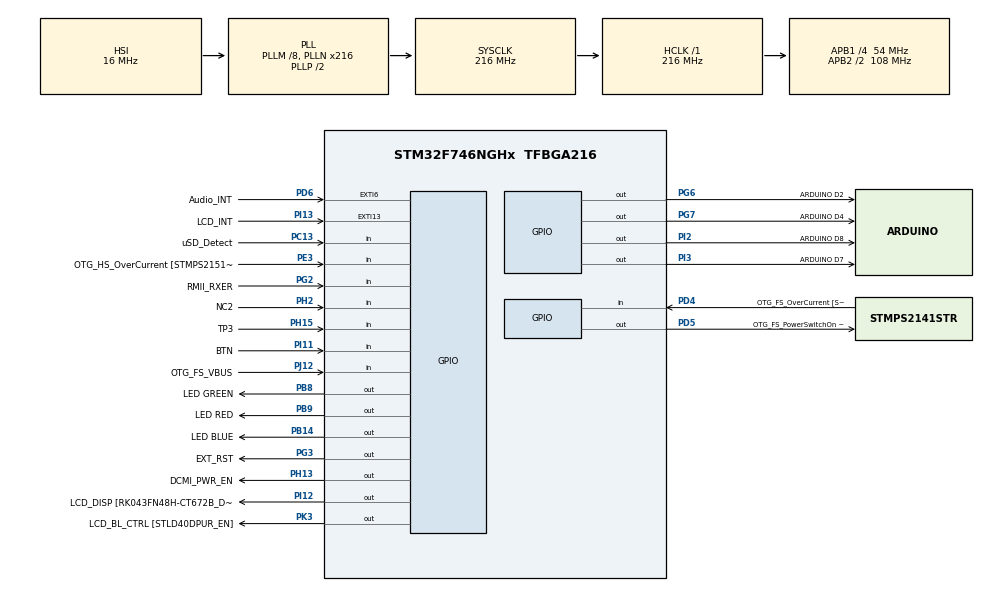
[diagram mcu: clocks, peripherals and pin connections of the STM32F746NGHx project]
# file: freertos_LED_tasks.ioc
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Mcu.Family=STM32F7
Mcu.Name=STM32F746NGHx
Mcu.Package=TFBGA216
NVIC.PriorityGroup=NVIC_PRIORITYGROUP_4
NVIC.TIM6_DAC_IRQn=true\:15\:0\:false\:false\:true\:false\:true\:true
NVIC.TimeBase=TIM6_DAC_IRQn
NVIC.TimeBaseIP=TIM6
PA0/WKUP.GPIO_Label=ARDUINO A0
PA0/WKUP.GPIO_Mode=GPIO_MODE_ANALOG
PA0/WKUP.GPIO_PuPd=GPIO_NOPULL
PA0/WKUP.Signal=ADCx_IN0
PA1.GPIO_Label=RMII_REF_CLK [LAN8742A-CZ-TR_REFCLK0]
PA1.Signal=ETH_REF_CLK
PA10.GPIO_Label=OTG_FS_ID
PA10.Signal=USB_OTG_FS_ID
PA11.GPIO_Label=OTG_FS_N
PA11.Signal=USB_OTG_FS_DM
PA12.GPIO_Label=OTG_FS_P
PA12.Signal=USB_OTG_FS_DP
PA13.GPIO_Label=SWDIO
PA13.Signal=SYS_JTMS-SWDIO
PA14.GPIO_Label=SWCLK
PA14.Signal=SYS_JTCK-SWCLK
PA15.GPIO_Label=ARDUINO PWM/D9
PA15.GPIO_ModeDefaultPP=GPIO_MODE_AF_PP
PA15.GPIO_PuPd=GPIO_NOPULL
PA15.GPIO_Speed=GPIO_SPEED_FREQ_LOW
PA15.Signal=S_TIM2_CH1_ETR
PA2.GPIO_Label=RMII_MDIO [LAN8742A-CZ-TR_MDIO]
PA2.Signal=ETH_MDIO
PA3.GPIO_Label=ULPI_D0 [USB3320C-EZK_D0]
PA3.Signal=USB_OTG_HS_ULPI_D0
PA4.GPIO_Label=DCMI_HSYNC
PA4.Signal=DCMI_HSYNC
PA5.GPIO_Label=ULPI_CLK [USB3320C-EZK_CLKOUT]
PA5.Signal=USB_OTG_HS_ULPI_CK
PA6.Signal=DCMI_PIXCLK
PA7.GPIO_Label=RMII_CRS_DV [LAN8742A-CZ-TR_CRS_DV]
PA7.Signal=ETH_CRS_DV
PA8.GPIO_Label=ARDUINO PWM/D10
PA8.GPIO_ModeDefaultPP=GPIO_MODE_AF_PP
PA8.GPIO_PuPd=GPIO_NOPULL
PA8.GPIO_Speed=GPIO_SPEED_FREQ_LOW
PA8.Signal=S_TIM1_CH1
PA9.GPIO_Label=VCP_TX [STM32F103CBT6_PA3]
PA9.GPIO_Mode=GPIO_MODE_AF_PP
PA9.GPIO_PuPd=GPIO_NOPULL
PA9.GPIO_Speed=GPIO_SPEED_FREQ_LOW
PA9.Signal=USART1_TX
PB0.GPIO_Label=ULPI_D1 [USB3320C-EZK_D1]
PB0.Signal=USB_OTG_HS_ULPI_D1
PB1.GPIO_Label=ULPI_D2 [USB3320C-EZK_D2]
PB1.Signal=USB_OTG_HS_ULPI_D2
PB10.GPIO_Label=ULPI_D3 [USB3320C-EZK_D3]
PB10.Signal=USB_OTG_HS_ULPI_D3
PB11.GPIO_Label=ULPI_D4 [USB3320C-EZK_D4]
PB11.Signal=USB_OTG_HS_ULPI_D4
PB12.GPIO_Label=ULPI_D5 [USB3320C-EZK_D5]
PB12.Signal=USB_OTG_HS_ULPI_D5
PB13.GPIO_Label=ULPI_D6 [USB3320C-EZK_D6]
PB13.Signal=USB_OTG_HS_ULPI_D6
PB14.GPIO_Label=LED BLUE
PB14.Signal=GPIO_Output
PB15.GPIO_Label=ARDUINO MOSI/PWM/D11
PB15.GPIO_Mode=GPIO_MODE_AF_PP
PB15.GPIO_PuPd=GPIO_NOPULL
PB15.GPIO_Speed=GPIO_SPEED_FREQ_LOW
PB15.Signal=SPI2_MOSI
PB2.Signal=QUADSPI_CLK
PB3.GPIO_Label=SWO
PB3.Signal=SYS_JTDO-SWO
PB4.GPIO_Label=ARDUINO PWM/D3
PB4.GPIO_ModeDefaultPP=GPIO_MODE_AF_PP
PB4.GPIO_PuPd=GPIO_NOPULL
PB4.GPIO_Speed=GPIO_SPEED_FREQ_LOW
PB4.Signal=S_TIM3_CH1
PB5.GPIO_Label=ULPI_D7 [USB3320C-EZK_D7]
PB5.Signal=USB_OTG_HS_ULPI_D7
PB6.GPIO_Label=QSPI_NCS [N25Q128A13EF840E_S]
PB6.Signal=QUADSPI_BK1_NCS
PB7.GPIO_Label=VCP_RX [STM32F103CBT6_PA2]
PB7.GPIO_Mode=GPIO_MODE_AF_PP
PB7.GPIO_PuPd=GPIO_NOPULL
PB7.GPIO_Speed=GPIO_SPEED_FREQ_LOW
PB7.Signal=USART1_RX
PB8.GPIO_Label=LED GREEN
PB8.Signal=GPIO_Output
PB9.GPIO_Label=LED RED
PB9.Signal=GPIO_Output
PC0.GPIO_Label=ULPI_STP [USB3320C-EZK_STP]
PC0.Signal=USB_OTG_HS_ULPI_STP
PC1.GPIO_Label=RMII_MDC [LAN8742A-CZ-TR_MDC]
PC1.Signal=ETH_MDC
PC10.GPIO_Label=SDMMC_D2
PC10.Signal=SDMMC1_D2
PC11.GPIO_Label=SDMMC_D3
PC11.Signal=SDMMC1_D3
PC12.GPIO_Label=SDMMC_CK
PC12.Signal=SDMMC1_CK
PC13.GPIO_Label=uSD_Detect
PC13.Signal=GPIO_Input
PC14/OSC32_IN.GPIO_Label=RCC_OSC32_IN
PC14/OSC32_IN.Signal=RCC_OSC32_IN
PC15/OSC32_OUT.GPIO_Label=RCC_OSC32_OUT
PC15/OSC32_OUT.Signal=RCC_OSC32_OUT
PC2.GPIO_Label=ULPI_DIR [USB3320C-EZK_DIR]
PC2.Signal=USB_OTG_HS_ULPI_DIR
PC3.GPIO_Label=FMC_SDCKE0 [MT48LC4M32B2B5-6A_CKE]
PC3.Signal=FMC_SDCKE0
PC4.GPIO_Label=RMII_RXD0 [LAN8742A-CZ-TR_RXD0]
PC4.Signal=ETH_RXD0
PC5.GPIO_Label=RMII_RXD1 [LAN8742A-CZ-TR_RXD1]
PC5.Signal=ETH_RXD1
PC6.GPIO_Label=ARDUINO TX/D1
PC6.Signal=USART6_TX
PC7.GPIO_Label=ARDUINO RX/D0
PC7.Signal=USART6_RX
PC8.Signal=SDMMC1_D0
PC9.Signal=SDMMC1_D1
PD0.GPIO_Label=FMC_D2 [MT48LC4M32B2B5-6A_DQ2]
PD0.Signal=FMC_D2_DA2
PD1.GPIO_Label=FMC_D3 [MT48LC4M32B2B5-6A_DQ3]
PD1.Signal=FMC_D3_DA3
PD10.GPIO_Label=FMC_D15 [MT48LC4M32B2B5-6A_DQ15]
PD10.Signal=FMC_D15_DA15
PD11.GPIO_Label=QSPI_D0 [N25Q128A13EF840E_DQ0]
PD11.Signal=QUADSPI_BK1_IO0
PD12.GPIO_Label=QSPI_D1 [N25Q128A13EF840E_DQ1]
PD12.Signal=QUADSPI_BK1_IO1
PD13.GPIO_Label=QSPI_D3 [N25Q128A13EF840E_DQ3]
PD13.Signal=QUADSPI_BK1_IO3
PD14.GPIO_Label=FMC_D0 [MT48LC4M32B2B5-6A_DQ0]
PD14.Signal=FMC_D0_DA0
PD15.GPIO_Label=FMC_D1 [MT48LC4M32B2B5-6A_DQ1]
PD15.Signal=FMC_D1_DA1
PD2.GPIO_Label=SDMMC_D0
PD2.Signal=SDMMC1_CMD
PD3.GPIO_Label=DCMI_D5
PD3.Signal=DCMI_D5
PD4.GPIO_Label=OTG_FS_OverCurrent [STMPS2141STR_Fault]
PD4.Signal=GPIO_Input
PD5.GPIO_Label=OTG_FS_PowerSwitchOn [STMPS2141STR_EN]
PD5.PinState=GPIO_PIN_SET
PD5.Signal=GPIO_Output
PD6.GPIO_Label=Audio_INT
PD6.GPIO_ModeDefaultEXTI=GPIO_MODE_EVT_RISING
PD6.Signal=GPXTI6
PD7.GPIO_Label=SPDIF_RX0 [74LVC1G04SE_4]
PD7.Signal=SPDIFRX_IN0
PD8.GPIO_Label=FMC_D13 [MT48LC4M32B2B5-6A_DQ13]
PD8.Signal=FMC_D13_DA13
PD9.GPIO_Label=FMC_D14 [MT48LC4M32B2B5-6A_DQ14]
PD9.Signal=FMC_D14_DA14
PE0.GPIO_Label=FMC_NBL0 [MT48LC4M32B2B5-6A_DQM0]
PE0.Signal=FMC_NBL0
PE1.GPIO_Label=FMC_NBL1 [MT48LC4M32B2B5-6A_DQM1]
PE1.Signal=FMC_NBL1
PE10.GPIO_Label=FMC_D7 [MT48LC4M32B2B5-6A_DQ7]
PE10.Signal=FMC_D7_DA7
PE11.GPIO_Label=FMC_D8 [MT48LC4M32B2B5-6A_DQ8]
PE11.Signal=FMC_D8_DA8
PE12.GPIO_Label=FMC_D9 [MT48LC4M32B2B5-6A_DQ9]
PE12.Signal=FMC_D9_DA9
PE13.GPIO_Label=FMC_D10 [MT48LC4M32B2B5-6A_DQ10]
PE13.Signal=FMC_D10_DA10
PE14.GPIO_Label=FMC_D11 [MT48LC4M32B2B5-6A_DQ11]
PE14.Signal=FMC_D11_DA11
PE15.GPIO_Label=FMC_D12 [MT48LC4M32B2B5-6A_DQ12]
PE15.Signal=FMC_D12_DA12
PE2.GPIO_Label=QSPI_D2 [N25Q128A13EF840E_DQ2]
PE2.Signal=QUADSPI_BK1_IO2
PE3.GPIO_Label=OTG_HS_OverCurrent [STMPS2151STR_FAULT]
PE3.Signal=GPIO_Input
PE4.GPIO_Label=LCD_B0 [RK043FN48H-CT672B_B0]
PE4.Signal=LTDC_B0
PE5.GPIO_Label=DCMI_D6
PE5.Signal=DCMI_D6
PE6.GPIO_Label=DCMI_D7
PE6.Signal=DCMI_D7
PE7.GPIO_Label=FMC_D4 [MT48LC4M32B2B5-6A_DQ4]
PE7.Signal=FMC_D4_DA4
PE8.GPIO_Label=FMC_D5 [MT48LC4M32B2B5-6A_DQ5]
PE8.Signal=FMC_D5_DA5
PE9.GPIO_Label=FMC_D6 [MT48LC4M32B2B5-6A_DQ6]
PE9.Signal=FMC_D6_DA6
PF0.GPIO_Label=FMC_A0 [MT48LC4M32B2B5-6A_A0]
PF0.Signal=FMC_A0
PF1.GPIO_Label=FMC_A1 [MT48LC4M32B2B5-6A_A1]
PF1.Signal=FMC_A1
PF10.GPIO_Label=ARDUINO A1
PF10.GPIO_Mode=GPIO_MODE_ANALOG
PF10.GPIO_PuPd=GPIO_NOPULL
PF10.Signal=ADC3_IN8
PF11.GPIO_Label=FMC_SDNRAS [MT48LC4M32B2B5-6A_RAS]
PF11.Signal=FMC_SDNRAS
PF12.GPIO_Label=FMC_A6 [MT48LC4M32B2B5-6A_A6]
PF12.Signal=FMC_A6
PF13.GPIO_Label=FMC_A7 [MT48LC4M32B2B5-6A_A7]
PF13.Signal=FMC_A7
PF14.GPIO_Label=FMC_A8 [MT48LC4M32B2B5-6A_A8]
PF14.Signal=FMC_A8
PF15.GPIO_Label=FMC_A9 [MT48LC4M32B2B5-6A_A9]
PF15.Signal=FMC_A9
PF2.GPIO_Label=FMC_A2 [MT48LC4M32B2B5-6A_A2]
PF2.Signal=FMC_A2
PF3.GPIO_Label=FMC_A3 [MT48LC4M32B2B5-6A_A3]
PF3.Signal=FMC_A3
PF4.GPIO_Label=FMC_A4 [MT48LC4M32B2B5-6A_A4]
PF4.Signal=FMC_A4
PF5.GPIO_Label=FMC_A5 [MT48LC4M32B2B5-6A_A5]
PF5.Signal=FMC_A5
PF6.GPIO_Label=ARDUINO A5
PF6.GPIO_Mode=GPIO_MODE_ANALOG
PF6.GPIO_PuPd=GPIO_NOPULL
PF6.Signal=ADC3_IN4
PF7.GPIO_Label=ARDUINO A4
PF7.GPIO_Mode=GPIO_MODE_ANALOG
PF7.GPIO_PuPd=GPIO_NOPULL
PF7.Signal=ADC3_IN5
PF8.GPIO_Label=ARDUINO A3
PF8.GPIO_Mode=GPIO_MODE_ANALOG
PF8.GPIO_PuPd=GPIO_NOPULL
PF8.Signal=ADC3_IN6
PF9.GPIO_Label=ARDUINO A2
PF9.GPIO_Mode=GPIO_MODE_ANALOG
PF9.GPIO_PuPd=GPIO_NOPULL
PF9.Signal=ADC3_IN7
PG0.GPIO_Label=FMC_A10 [MT48LC4M32B2B5-6A_A10]
PG0.Signal=FMC_A10
PG1.GPIO_Label=FMC_A11 [MT48LC4M32B2B5-6A_A11]
PG1.Signal=FMC_A11
PG10.GPIO_Label=SAI2_SDB [WM8994ECS/R_ADCDAT1]
PG10.Signal=SAI2_SD_B
PG11.GPIO_Label=RMII_TX_EN [LAN8742A-CZ-TR_TXEN]
PG11.Signal=ETH_TX_EN
PG12.GPIO_Label=LCD_B4 [RK043FN48H-CT672B_B4]
PG12.Signal=LTDC_B4
PG13.GPIO_Label=RMII_TXD0 [LAN8742A-CZ-TR_TXD0]
PG13.Signal=ETH_TXD0
PG14.GPIO_Label=RMII_TXD1 [LAN8742A-CZ-TR_TXD1]
PG14.Signal=ETH_TXD1
PG15.GPIO_Label=FMC_SDNCAS [MT48LC4M32B2B5-6A_CAS]
PG15.Signal=FMC_SDNCAS
PG2.GPIO_Label=RMII_RXER
PG2.Signal=GPIO_Input
PG3.GPIO_Label=EXT_RST
PG3.Signal=GPIO_Output
PG4.GPIO_Label=FMC_BA0 [MT48LC4M32B2B5-6A_BA0]
PG4.Signal=FMC_A14_BA0
PG5.GPIO_Label=FMC_BA1 [MT48LC4M32B2B5-6A_BA1]
PG5.Signal=FMC_A15_BA1
PG6.GPIO_Label=ARDUINO D2
PG6.Signal=GPIO_Output
PG7.GPIO_Label=ARDUINO D4
PG7.Signal=GPIO_Output
PG8.GPIO_Label=FMC_SDCLK [MT48LC4M32B2B5-6A_CLK]
PG8.Signal=FMC_SDCLK
PG9.GPIO_Label=DCMI_VSYNC
PG9.Signal=DCMI_VSYNC
PH0/OSC_IN.GPIO_Label=OSC_25M [NZ2520SB-25.00M_OUT]
PH0/OSC_IN.Signal=RCC_OSC_IN
PH1/OSC_OUT.Signal=RCC_OSC_OUT
PH10.GPIO_Label=DCMI_D1
PH10.Signal=DCMI_D1
PH11.GPIO_Label=DCMI_D2
PH11.Signal=DCMI_D2
PH12.GPIO_Label=DCMI_D3
PH12.Signal=DCMI_D3
PH13.GPIO_Label=DCMI_PWR_EN
PH13.Signal=GPIO_Output
PH14.GPIO_Label=DCMI_D4
PH14.Signal=DCMI_D4
PH15.GPIO_Label=TP3
PH15.Signal=GPIO_Input
PH2.GPIO_Label=NC2
PH2.Signal=GPIO_Input
PH3.GPIO_Label=FMC_SDNE0 [MT48LC4M32B2B5-6A_CS]
PH3.Signal=FMC_SDNE0
PH4.GPIO_Label=ULPI_NXT [USB3320C-EZK_NXT]
PH4.Signal=USB_OTG_HS_ULPI_NXT
PH5.GPIO_Label=FMC_SDNME [MT48LC4M32B2B5-6A_WE]
PH5.Signal=FMC_SDNWE
PH6.GPIO_Label=ARDUINO PWM/D6
PH6.Signal=S_TIM12_CH1
PH7.GPIO_Label=LCD_SCL [RK043FN48H-CT672B_SCL]
PH7.Signal=I2C3_SCL
PH8.GPIO_Label=LCD_SDA [RK043FN48H-CT672B_SDA]
PH8.Signal=I2C3_SDA
PH9.GPIO_Label=DCMI_D0
PH9.Signal=DCMI_D0
PI0.GPIO_Label=ARDUINO PWM/CS/D5
PI0.GPIO_ModeDefaultPP=GPIO_MODE_AF_PP
PI0.GPIO_PuPd=GPIO_NOPULL
PI0.GPIO_Speed=GPIO_SPEED_FREQ_LOW
PI0.Signal=S_TIM5_CH4
PI1.GPIO_Label=ARDUINO SCK/D13
PI1.GPIO_Mode=GPIO_MODE_AF_PP
PI1.GPIO_PuPd=GPIO_NOPULL
PI1.GPIO_Speed=GPIO_SPEED_FREQ_LOW
PI1.Signal=SPI2_SCK
PI10.GPIO_Label=LCD_HSYNC [RK043FN48H-CT672B_HSYNC]
PI10.Signal=LTDC_HSYNC
PI11.GPIO_Label=BTN
PI11.Signal=GPIO_Input
PI12.GPIO_Label=LCD_DISP [RK043FN48H-CT672B_DISP] 
PI12.Signal=GPIO_Output
PI13.GPIO_Label=LCD_INT
PI13.GPIO_ModeDefaultEXTI=GPIO_MODE_EVT_RISING
PI13.Signal=GPXTI13
PI14.GPIO_Label=LCD_CLK [RK043FN48H-CT672B_CLK]
PI14.Signal=LTDC_CLK
PI15.GPIO_Label=LCD_R0 [RK043FN48H-CT672B_R0]
PI15.Signal=LTDC_R0
PI2.GPIO_Label=ARDUINO D8
PI2.Signal=GPIO_Output
PI3.GPIO_Label=ARDUINO D7
PI3.Signal=GPIO_Output
PI4.GPIO_Label=SAI2_MCLKA [WM8994ECS/R_MCLK1]
PI4.Signal=SAI2_MCLK_A
PI5.GPIO_Label=SAI2_SCKA [WM8994ECS/R_BCLK1]
PI5.Signal=SAI2_SCK_A
PI6.GPIO_Label=SAI2_SDA [WM8994ECS/R_DACDAT1]
PI6.Signal=SAI2_SD_A
PI7.GPIO_Label=SAI2_FSA [WM8994ECS/R_LRCLK1]
PI7.Signal=SAI2_FS_A
PI8.GPIO_Label=NC1 [TP2]
PI8.Signal=RTC_TS
PI9.GPIO_Label=LCD_VSYNC [RK043FN48H-CT672B_VSYNC]
PI9.Signal=LTDC_VSYNC
PJ0.GPIO_Label=LCD_R1 [RK043FN48H-CT672B_R1]
PJ0.Signal=LTDC_R1
PJ1.GPIO_Label=LCD_R2 [RK043FN48H-CT672B_R2]
PJ1.Signal=LTDC_R2
PJ10.GPIO_Label=LCD_G3 [RK043FN48H-CT672B_G3]
PJ10.Signal=LTDC_G3
PJ11.GPIO_Label=LCD_G4 [RK043FN48H-CT672B_G4]
PJ11.Signal=LTDC_G4
PJ12.GPIO_Label=OTG_FS_VBUS
PJ12.Signal=GPIO_Input
PJ13.GPIO_Label=LCD_B1 [RK043FN48H-CT672B_B1]
PJ13.Signal=LTDC_B1
PJ14.GPIO_Label=LCD_B2 [RK043FN48H-CT672B_B2]
PJ14.Signal=LTDC_B2
PJ15.GPIO_Label=LCD_B3 [RK043FN48H-CT672B_B3]
PJ15.Signal=LTDC_B3
PJ2.GPIO_Label=LCD_R3 [RK043FN48H-CT672B_R3]
PJ2.Signal=LTDC_R3
PJ3.GPIO_Label=LCD_R4 [RK043FN48H-CT672B_R4]
PJ3.Signal=LTDC_R4
PJ4.GPIO_Label=LCD_R5 [RK043FN48H-CT672B_R5]
PJ4.Signal=LTDC_R5
PJ5.GPIO_Label=LCD_R6 [RK043FN48H-CT672B_R6]
PJ5.Signal=LTDC_R6
PJ6.GPIO_Label=LCD_R7 [RK043FN48H-CT672B_R7]
PJ6.Signal=LTDC_R7
PJ7.GPIO_Label=LCD_G0 [RK043FN48H-CT672B_G0]
PJ7.Signal=LTDC_G0
PJ8.GPIO_Label=LCD_G1 [RK043FN48H-CT672B_G1]
PJ8.Signal=LTDC_G1
PJ9.GPIO_Label=LCD_G2 [RK043FN48H-CT672B_G2]
PJ9.Signal=LTDC_G2
PK0.GPIO_Label=LCD_G5 [RK043FN48H-CT672B_G5]
PK0.Signal=LTDC_G5
PK1.GPIO_Label=LCD_G6 [RK043FN48H-CT672B_G6]
PK1.Signal=LTDC_G6
PK2.GPIO_Label=LCD_G7 [RK043FN48H-CT672B_G7]
PK2.Signal=LTDC_G7
PK3.GPIO_Label=LCD_BL_CTRL [STLD40DPUR_EN]
PK3.Signal=GPIO_Output
PK4.GPIO_Label=LCD_B5 [RK043FN48H-CT672B_B5]
PK4.Signal=LTDC_B5
PK5.GPIO_Label=LCD_B6 [RK043FN48H-CT672B_B6]
PK5.Signal=LTDC_B6
PK6.GPIO_Label=LCD_B7 [RK043FN48H-CT672B_B7]
PK6.Signal=LTDC_B7
PK7.GPIO_Label=LCD_DE [RK043FN48H-CT672B_DE]
PK7.Signal=LTDC_DE
ProjectManager.HeapSize=0x200
ProjectManager.StackSize=0x400
ProjectManager.TargetToolchain=STM32CubeIDE
RCC.AHBFreq_Value=216000000
RCC.APB1CLKDivider=RCC_HCLK_DIV4
RCC.APB1Freq_Value=54000000
RCC.APB1TimFreq_Value=108000000
RCC.APB2CLKDivider=RCC_HCLK_DIV2
RCC.APB2Freq_Value=108000000
RCC.APB2TimFreq_Value=216000000
RCC.CortexFreq_Value=216000000
RCC.HCLKFreq_Value=216000000
RCC.HSE_VALUE=25000000
RCC.HSI_VALUE=16000000
RCC.LSE_VALUE=32768
RCC.PLLM=8
RCC.PLLN=216
RCC.PLLSourceVirtual=RCC_PLLSOURCE_HSI
RCC.SYSCLKFreq_VALUE=216000000
RCC.SYSCLKSource=RCC_SYSCLKSOURCE_PLLCLK
RCC.USBFreq_Value=216000000
RCC.VCOOutputFreq_Value=432000000
SH.ADCx_IN0.0=ADC3_IN0
SH.FMC_A0.0=FMC_A0
SH.FMC_A1.0=FMC_A1
SH.FMC_A10.0=FMC_A10
SH.FMC_A11.0=FMC_A11
SH.FMC_A14_BA0.0=FMC_BA0
SH.FMC_A15_BA1.0=FMC_BA1
SH.FMC_A2.0=FMC_A2
SH.FMC_A3.0=FMC_A3
SH.FMC_A4.0=FMC_A4
SH.FMC_A5.0=FMC_A5
SH.FMC_A6.0=FMC_A6
SH.FMC_A7.0=FMC_A7
SH.FMC_A8.0=FMC_A8
SH.FMC_A9.0=FMC_A9
SH.FMC_D0_DA0.0=FMC_D0
SH.FMC_D10_DA10.0=FMC_D10
SH.FMC_D11_DA11.0=FMC_D11
SH.FMC_D12_DA12.0=FMC_D12
SH.FMC_D13_DA13.0=FMC_D13
SH.FMC_D14_DA14.0=FMC_D14
SH.FMC_D15_DA15.0=FMC_D15
SH.FMC_D1_DA1.0=FMC_D1
SH.FMC_D2_DA2.0=FMC_D2
SH.FMC_D3_DA3.0=FMC_D3
SH.FMC_D4_DA4.0=FMC_D4
SH.FMC_D5_DA5.0=FMC_D5
SH.FMC_D6_DA6.0=FMC_D6
SH.FMC_D7_DA7.0=FMC_D7
SH.FMC_D8_DA8.0=FMC_D8
SH.FMC_D9_DA9.0=FMC_D9
SH.FMC_NBL0.0=FMC_NBL0
SH.FMC_NBL1.0=FMC_NBL1
SH.FMC_SDCLK.0=FMC_SDCLK
SH.FMC_SDNCAS.0=FMC_SDNCAS
SH.FMC_SDNRAS.0=FMC_SDNRAS
SH.FMC_SDNWE.0=FMC_SDNWE
SH.S_TIM12_CH1.0=TIM12_CH1
SH.S_TIM1_CH1.0=TIM1_CH1
SH.S_TIM2_CH1_ETR.0=TIM2_CH1
SH.S_TIM3_CH1.0=TIM3_CH1
SH.S_TIM5_CH4.0=TIM5_CH4
VP_SYS_VS_tim6.Mode=TIM6
board=STM32F746G-DISCO

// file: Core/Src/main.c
/* USER CODE BEGIN Header */
/**
  ******************************************************************************
  * @file           : main.c
  * @brief          : Main program body
  ******************************************************************************
  * @attention
  *
  * Copyright (c) 2023 STMicroelectronics.
  * All rights reserved.
  *
  * This software is licensed under terms that can be found in the LICENSE file
  * in the root directory of this software component.
  * If no LICENSE file comes with this software, it is provided AS-IS.
  *
  ******************************************************************************
  */
/* USER CODE END Header */
#include "main.h"

/* USER CODE BEGIN Includes */
#include <stdio.h>
#include "FreeRTOS.h"
#include "task.h"
/* USER CODE END Includes */

/* USER CODE BEGIN PM */
#define SYSVIEW_RTT				1
#define SYSVIEW_ONE_SHOT		0
/* USER CODE END PM */

/* USER CODE BEGIN PV */
#define DWT_CTRL    (*(volatile uint32_t*)0xE0001000)
/* USER CODE END PV */

void SystemClock_Config(void);
static void MX_GPIO_Init(void);
/* USER CODE BEGIN PFP */
static void led_green_handler (void* parameters);
static void led_red_handler (void* parameters);
static void led_blue_handler (void* parameters);
static void button_handler (void* parameters);
/* USER CODE END PFP */

/* USER CODE BEGIN 0 */
extern  void SEGGER_UART_init(uint32_t);

TaskHandle_t ledG_task_handle;
TaskHandle_t ledR_task_handle;
TaskHandle_t ledB_task_handle;
TaskHandle_t btn_task_handle;

TaskHandle_t volatile next_task_handle = NULL;

/* USER CODE END 0 */

int main(void)
{
  /* USER CODE BEGIN 1 */

  BaseType_t status;
  /* USER CODE END 1 */

  /* MCU Configuration--------------------------------------------------------*/

  /* Reset of all peripherals, Initializes the Flash interface and the Systick. */
  HAL_Init();

  /* Configure the system clock */
  SystemClock_Config();

  /* Initialize all configured peripherals */
  MX_GPIO_Init();
  /* USER CODE BEGIN 2 */

  //Enable the CYCCNT counter.

  DWT_CTRL |= ( 1 << 0);
  SEGGER_UART_init(500000);
  SEGGER_SYSVIEW_Conf();
  SEGGER_SYSVIEW_Start();

  status = xTaskCreate(led_green_handler, "LED_grean_task", 200, NULL, 3, &ledG_task_handle);

  configASSERT(status == pdPASS);

  next_task_handle = ledG_task_handle;

  status = xTaskCreate(led_red_handler, "LED_red_task", 200, NULL, 2, &ledR_task_handle);

  configASSERT(status == pdPASS);

  status = xTaskCreate(led_blue_handler, "LED_blue_task", 200, NULL, 1, &ledB_task_handle);

  configASSERT(status == pdPASS);

  status = xTaskCreate(button_handler, "Button_task", 200, NULL, 4, &btn_task_handle);

  configASSERT(status == pdPASS);

    //start scheduler

  vTaskStartScheduler();
  /* USER CODE END 2 */

  /* Infinite loop */
  while (1)
  {

  }
}

void SystemClock_Config(void)
{
  RCC_OscInitTypeDef RCC_OscInitStruct = {0};
  RCC_ClkInitTypeDef RCC_ClkInitStruct = {0};

  /** Configure the main internal regulator output voltage
  */
  __HAL_RCC_PWR_CLK_ENABLE();
  __HAL_PWR_VOLTAGESCALING_CONFIG(PWR_REGULATOR_VOLTAGE_SCALE1);

  /** Initializes the RCC Oscillators according to the specified parameters
  * in the RCC_OscInitTypeDef structure.
  */
  RCC_OscInitStruct.OscillatorType = RCC_OSCILLATORTYPE_HSI;
  RCC_OscInitStruct.HSIState = RCC_HSI_ON;
  RCC_OscInitStruct.HSICalibrationValue = RCC_HSICALIBRATION_DEFAULT;
  RCC_OscInitStruct.PLL.PLLState = RCC_PLL_ON;
  RCC_OscInitStruct.PLL.PLLSource = RCC_PLLSOURCE_HSI;
  RCC_OscInitStruct.PLL.PLLM = 8;
  RCC_OscInitStruct.PLL.PLLN = 216;
  RCC_OscInitStruct.PLL.PLLP = RCC_PLLP_DIV2;
  RCC_OscInitStruct.PLL.PLLQ = 2;
  if (HAL_RCC_OscConfig(&RCC_OscInitStruct) != HAL_OK)
  {
    Error_Handler();
  }

  /** Activate the Over-Drive mode
  */
  if (HAL_PWREx_EnableOverDrive() != HAL_OK)
  {
    Error_Handler();
  }

  /** Initializes the CPU, AHB and APB buses clocks
  */
  RCC_ClkInitStruct.ClockType = RCC_CLOCKTYPE_HCLK|RCC_CLOCKTYPE_SYSCLK
                              |RCC_CLOCKTYPE_PCLK1|RCC_CLOCKTYPE_PCLK2;
  RCC_ClkInitStruct.SYSCLKSource = RCC_SYSCLKSOURCE_PLLCLK;
  RCC_ClkInitStruct.AHBCLKDivider = RCC_SYSCLK_DIV1;
  RCC_ClkInitStruct.APB1CLKDivider = RCC_HCLK_DIV4;
  RCC_ClkInitStruct.APB2CLKDivider = RCC_HCLK_DIV2;

  if (HAL_RCC_ClockConfig(&RCC_ClkInitStruct, FLASH_LATENCY_7) != HAL_OK)
  {
    Error_Handler();
  }
}

static void MX_GPIO_Init(void)
{
  GPIO_InitTypeDef GPIO_InitStruct = {0};

  /* GPIO Ports Clock Enable */
  __HAL_RCC_GPIOE_CLK_ENABLE();
  __HAL_RCC_GPIOG_CLK_ENABLE();
  __HAL_RCC_GPIOB_CLK_ENABLE();
  __HAL_RCC_GPIOD_CLK_ENABLE();
  __HAL_RCC_GPIOC_CLK_ENABLE();
  __HAL_RCC_GPIOA_CLK_ENABLE();
  __HAL_RCC_GPIOJ_CLK_ENABLE();
  __HAL_RCC_GPIOI_CLK_ENABLE();
  __HAL_RCC_GPIOK_CLK_ENABLE();
  __HAL_RCC_GPIOF_CLK_ENABLE();
  __HAL_RCC_GPIOH_CLK_ENABLE();

  /*Configure GPIO pin Output Level */
  HAL_GPIO_WritePin(GPIOB, LED_GREEN_Pin|LED_RED_Pin|LED_BLUE_Pin, GPIO_PIN_RESET);

  /*Configure GPIO pin Output Level */
  HAL_GPIO_WritePin(OTG_FS_PowerSwitchOn_GPIO_Port, OTG_FS_PowerSwitchOn_Pin, GPIO_PIN_SET);

  /*Configure GPIO pin Output Level */
  HAL_GPIO_WritePin(GPIOI, ARDUINO_D7_Pin|ARDUINO_D8_Pin|LCD_DISP_Pin, GPIO_PIN_RESET);

  /*Configure GPIO pin Output Level */
  HAL_GPIO_WritePin(LCD_BL_CTRL_GPIO_Port, LCD_BL_CTRL_Pin, GPIO_PIN_RESET);

  /*Configure GPIO pin Output Level */
  HAL_GPIO_WritePin(DCMI_PWR_EN_GPIO_Port, DCMI_PWR_EN_Pin, GPIO_PIN_RESET);

  /*Configure GPIO pin Output Level */
  HAL_GPIO_WritePin(GPIOG, ARDUINO_D4_Pin|ARDUINO_D2_Pin|EXT_RST_Pin, GPIO_PIN_RESET);

  /*Configure GPIO pin : LCD_B0_Pin */
  GPIO_InitStruct.Pin = LCD_B0_Pin;
  GPIO_InitStruct.Mode = GPIO_MODE_AF_PP;
  GPIO_InitStruct.Pull = GPIO_NOPULL;
  GPIO_InitStruct.Speed = GPIO_SPEED_FREQ_LOW;
  GPIO_InitStruct.Alternate = GPIO_AF14_LTDC;
  HAL_GPIO_Init(LCD_B0_GPIO_Port, &GPIO_InitStruct);

  /*Configure GPIO pin : OTG_HS_OverCurrent_Pin */
  GPIO_InitStruct.Pin = OTG_HS_OverCurrent_Pin;
  GPIO_InitStruct.Mode = GPIO_MODE_INPUT;
  GPIO_InitStruct.Pull = GPIO_NOPULL;
  HAL_GPIO_Init(OTG_HS_OverCurrent_GPIO_Port, &GPIO_InitStruct);

  /*Configure GPIO pin : QSPI_D2_Pin */
  GPIO_InitStruct.Pin = QSPI_D2_Pin;
  GPIO_InitStruct.Mode = GPIO_MODE_AF_PP;
  GPIO_InitStruct.Pull = GPIO_NOPULL;
  GPIO_InitStruct.Speed = GPIO_SPEED_FREQ_VERY_HIGH;
  GPIO_InitStruct.Alternate = GPIO_AF9_QUADSPI;
  HAL_GPIO_Init(QSPI_D2_GPIO_Port, &GPIO_InitStruct);

  /*Configure GPIO pins : RMII_TXD1_Pin RMII_TXD0_Pin RMII_TX_EN_Pin */
  GPIO_InitStruct.Pin = RMII_TXD1_Pin|RMII_TXD0_Pin|RMII_TX_EN_Pin;
  GPIO_InitStruct.Mode = GPIO_MODE_AF_PP;
  GPIO_InitStruct.Pull = GPIO_NOPULL;
  GPIO_InitStruct.Speed = GPIO_SPEED_FREQ_VERY_HIGH;
  GPIO_InitStruct.Alternate = GPIO_AF11_ETH;
  HAL_GPIO_Init(GPIOG, &GPIO_InitStruct);

  /*Configure GPIO pins : FMC_NBL1_Pin FMC_NBL0_Pin FMC_D5_Pin FMC_D6_Pin
                           FMC_D8_Pin FMC_D11_Pin FMC_D4_Pin FMC_D7_Pin
                           FMC_D9_Pin FMC_D12_Pin FMC_D10_Pin */
  GPIO_InitStruct.Pin = FMC_NBL1_Pin|FMC_NBL0_Pin|FMC_D5_Pin|FMC_D6_Pin
                          |FMC_D8_Pin|FMC_D11_Pin|FMC_D4_Pin|FMC_D7_Pin
                          |FMC_D9_Pin|FMC_D12_Pin|FMC_D10_Pin;
  GPIO_InitStruct.Mode = GPIO_MODE_AF_PP;
  GPIO_InitStruct.Pull = GPIO_NOPULL;
  GPIO_InitStruct.Speed = GPIO_SPEED_FREQ_VERY_HIGH;
  GPIO_InitStruct.Alternate = GPIO_AF12_FMC;
  HAL_GPIO_Init(GPIOE, &GPIO_InitStruct);

  /*Configure GPIO pins : LED_GREEN_Pin LED_RED_Pin LED_BLUE_Pin */
  GPIO_InitStruct.Pin = LED_GREEN_Pin|LED_RED_Pin|LED_BLUE_Pin;
  GPIO_InitStruct.Mode = GPIO_MODE_OUTPUT_PP;
  GPIO_InitStruct.Pull = GPIO_NOPULL;
  GPIO_InitStruct.Speed = GPIO_SPEED_FREQ_LOW;
  HAL_GPIO_Init(GPIOB, &GPIO_InitStruct);

  /*Configure GPIO pins : ULPI_D7_Pin ULPI_D6_Pin ULPI_D5_Pin ULPI_D3_Pin
                           ULPI_D2_Pin ULPI_D1_Pin ULPI_D4_Pin */
  GPIO_InitStruct.Pin = ULPI_D7_Pin|ULPI_D6_Pin|ULPI_D5_Pin|ULPI_D3_Pin
                          |ULPI_D2_Pin|ULPI_D1_Pin|ULPI_D4_Pin;
  GPIO_InitStruct.Mode = GPIO_MODE_AF_PP;
  GPIO_InitStruct.Pull = GPIO_NOPULL;
  GPIO_InitStruct.Speed = GPIO_SPEED_FREQ_VERY_HIGH;
  GPIO_InitStruct.Alternate = GPIO_AF10_OTG_HS;
  HAL_GPIO_Init(GPIOB, &GPIO_InitStruct);

  /*Configure GPIO pin : ARDUINO_PWM_D3_Pin */
  GPIO_InitStruct.Pin = ARDUINO_PWM_D3_Pin;
  GPIO_InitStruct.Mode = GPIO_MODE_AF_PP;
  GPIO_InitStruct.Pull = GPIO_NOPULL;
  GPIO_InitStruct.Speed = GPIO_SPEED_FREQ_LOW;
  GPIO_InitStruct.Alternate = GPIO_AF2_TIM3;
  HAL_GPIO_Init(ARDUINO_PWM_D3_GPIO_Port, &GPIO_InitStruct);

  /*Configure GPIO pin : SPDIF_RX0_Pin */
  GPIO_InitStruct.Pin = SPDIF_RX0_Pin;
  GPIO_InitStruct.Mode = GPIO_MODE_AF_PP;
  GPIO_InitStruct.Pull = GPIO_NOPULL;
  GPIO_InitStruct.Speed = GPIO_SPEED_FREQ_LOW;
  GPIO_InitStruct.Alternate = GPIO_AF8_SPDIFRX;
  HAL_GPIO_Init(SPDIF_RX0_GPIO_Port, &GPIO_InitStruct);

  /*Configure GPIO pins : SDMMC_CK_Pin SDMMC_D3_Pin SDMMC_D2_Pin PC9
                           PC8 */
  GPIO_InitStruct.Pin = SDMMC_CK_Pin|SDMMC_D3_Pin|SDMMC_D2_Pin|GPIO_PIN_9
                          |GPIO_PIN_8;
  GPIO_InitStruct.Mode = GPIO_MODE_AF_PP;
  GPIO_InitStruct.Pull = GPIO_NOPULL;
  GPIO_InitStruct.Speed = GPIO_SPEED_FREQ_VERY_HIGH;
  GPIO_InitStruct.Alternate = GPIO_AF12_SDMMC1;
  HAL_GPIO_Init(GPIOC, &GPIO_InitStruct);

  /*Configure GPIO pin : ARDUINO_PWM_D9_Pin */
  GPIO_InitStruct.Pin = ARDUINO_PWM_D9_Pin;
  GPIO_InitStruct.Mode = GPIO_MODE_AF_PP;
  GPIO_InitStruct.Pull = GPIO_NOPULL;
  GPIO_InitStruct.Speed = GPIO_SPEED_FREQ_LOW;
  GPIO_InitStruct.Alternate = GPIO_AF1_TIM2;
  HAL_GPIO_Init(ARDUINO_PWM_D9_GPIO_Port, &GPIO_InitStruct);

  /*Configure GPIO pins : DCMI_D6_Pin DCMI_D7_Pin */
  GPIO_InitStruct.Pin = DCMI_D6_Pin|DCMI_D7_Pin;
  GPIO_InitStruct.Mode = GPIO_MODE_AF_PP;
  GPIO_InitStruct.Pull = GPIO_NOPULL;
  GPIO_InitStruct.Speed = GPIO_SPEED_FREQ_LOW;
  GPIO_InitStruct.Alternate = GPIO_AF13_DCMI;
  HAL_GPIO_Init(GPIOE, &GPIO_InitStruct);

  /*Configure GPIO pin : VCP_RX_Pin */
  GPIO_InitStruct.Pin = VCP_RX_Pin;
  GPIO_InitStruct.Mode = GPIO_MODE_AF_PP;
  GPIO_InitStruct.Pull = GPIO_NOPULL;
  GPIO_InitStruct.Speed = GPIO_SPEED_FREQ_LOW;
  GPIO_InitStruct.Alternate = GPIO_AF7_USART1;
  HAL_GPIO_Init(VCP_RX_GPIO_Port, &GPIO_InitStruct);

  /*Configure GPIO pin : QSPI_NCS_Pin */
  GPIO_InitStruct.Pin = QSPI_NCS_Pin;
  GPIO_InitStruct.Mode = GPIO_MODE_AF_PP;
  GPIO_InitStruct.Pull = GPIO_NOPULL;
  GPIO_InitStruct.Speed = GPIO_SPEED_FREQ_VERY_HIGH;
  GPIO_InitStruct.Alternate = GPIO_AF10_QUADSPI;
  HAL_GPIO_Init(QSPI_NCS_GPIO_Port, &GPIO_InitStruct);

  /*Configure GPIO pins : FMC_SDNCAS_Pin FMC_SDCLK_Pin FMC_A11_Pin FMC_A10_Pin
                           FMC_BA1_Pin FMC_BA0_Pin */
  GPIO_InitStruct.Pin = FMC_SDNCAS_Pin|FMC_SDCLK_Pin|FMC_A11_Pin|FMC_A10_Pin
                          |FMC_BA1_Pin|FMC_BA0_Pin;
  GPIO_InitStruct.Mode = GPIO_MODE_AF_PP;
  GPIO_InitStruct.Pull = GPIO_NOPULL;
  GPIO_InitStruct.Speed = GPIO_SPEED_FREQ_VERY_HIGH;
  GPIO_InitStruct.Alternate = GPIO_AF12_FMC;
  HAL_GPIO_Init(GPIOG, &GPIO_InitStruct);

  /*Configure GPIO pins : LCD_B1_Pin LCD_B2_Pin LCD_B3_Pin LCD_G4_Pin
                           LCD_G1_Pin LCD_G3_Pin LCD_G0_Pin LCD_G2_Pin
                           LCD_R7_Pin LCD_R5_Pin LCD_R6_Pin LCD_R4_Pin
                           LCD_R3_Pin LCD_R1_Pin LCD_R2_Pin */
  GPIO_InitStruct.Pin = LCD_B1_Pin|LCD_B2_Pin|LCD_B3_Pin|LCD_G4_Pin
                          |LCD_G1_Pin|LCD_G3_Pin|LCD_G0_Pin|LCD_G2_Pin
                          |LCD_R7_Pin|LCD_R5_Pin|LCD_R6_Pin|LCD_R4_Pin
                          |LCD_R3_Pin|LCD_R1_Pin|LCD_R2_Pin;
  GPIO_InitStruct.Mode = GPIO_MODE_AF_PP;
  GPIO_InitStruct.Pull = GPIO_NOPULL;
  GPIO_InitStruct.Speed = GPIO_SPEED_FREQ_LOW;
  GPIO_InitStruct.Alternate = GPIO_AF14_LTDC;
  HAL_GPIO_Init(GPIOJ, &GPIO_InitStruct);

  /*Configure GPIO pin : OTG_FS_VBUS_Pin */
  GPIO_InitStruct.Pin = OTG_FS_VBUS_Pin;
  GPIO_InitStruct.Mode = GPIO_MODE_INPUT;
  GPIO_InitStruct.Pull = GPIO_NOPULL;
  HAL_GPIO_Init(OTG_FS_VBUS_GPIO_Port, &GPIO_InitStruct);

  /*Configure GPIO pin : Audio_INT_Pin */
  GPIO_InitStruct.Pin = Audio_INT_Pin;
  GPIO_InitStruct.Mode = GPIO_MODE_EVT_RISING;
  GPIO_InitStruct.Pull = GPIO_NOPULL;
  HAL_GPIO_Init(Audio_INT_GPIO_Port, &GPIO_InitStruct);

  /*Configure GPIO pins : FMC_D2_Pin FMC_D3_Pin FMC_D1_Pin FMC_D15_Pin
                           FMC_D0_Pin FMC_D14_Pin FMC_D13_Pin */
  GPIO_InitStruct.Pin = FMC_D2_Pin|FMC_D3_Pin|FMC_D1_Pin|FMC_D15_Pin
                          |FMC_D0_Pin|FMC_D14_Pin|FMC_D13_Pin;
  GPIO_InitStruct.Mode = GPIO_MODE_AF_PP;
  GPIO_InitStruct.Pull = GPIO_NOPULL;
  GPIO_InitStruct.Speed = GPIO_SPEED_FREQ_VERY_HIGH;
  GPIO_InitStruct.Alternate = GPIO_AF12_FMC;
  HAL_GPIO_Init(GPIOD, &GPIO_InitStruct);

  /*Configure GPIO pins : OTG_FS_P_Pin OTG_FS_N_Pin OTG_FS_ID_Pin */
  GPIO_InitStruct.Pin = OTG_FS_P_Pin|OTG_FS_N_Pin|OTG_FS_ID_Pin;
  GPIO_InitStruct.Mode = GPIO_MODE_AF_PP;
  GPIO_InitStruct.Pull = GPIO_NOPULL;
  GPIO_InitStruct.Speed = GPIO_SPEED_FREQ_VERY_HIGH;
  GPIO_InitStruct.Alternate = GPIO_AF10_OTG_FS;
  HAL_GPIO_Init(GPIOA, &GPIO_InitStruct);

  /*Configure GPIO pins : SAI2_MCLKA_Pin SAI2_SCKA_Pin SAI2_FSA_Pin SAI2_SDA_Pin */
  GPIO_InitStruct.Pin = SAI2_MCLKA_Pin|SAI2_SCKA_Pin|SAI2_FSA_Pin|SAI2_SDA_Pin;
  GPIO_InitStruct.Mode = GPIO_MODE_AF_PP;
  GPIO_InitStruct.Pull = GPIO_NOPULL;
  GPIO_InitStruct.Speed = GPIO_SPEED_FREQ_LOW;
  GPIO_InitStruct.Alternate = GPIO_AF10_SAI2;
  HAL_GPIO_Init(GPIOI, &GPIO_InitStruct);

  /*Configure GPIO pins : LCD_DE_Pin LCD_B7_Pin LCD_B6_Pin LCD_B5_Pin
                           LCD_G6_Pin LCD_G7_Pin LCD_G5_Pin */
  GPIO_InitStruct.Pin = LCD_DE_Pin|LCD_B7_Pin|LCD_B6_Pin|LCD_B5_Pin
                          |LCD_G6_Pin|LCD_G7_Pin|LCD_G5_Pin;
  GPIO_InitStruct.Mode = GPIO_MODE_AF_PP;
  GPIO_InitStruct.Pull = GPIO_NOPULL;
  GPIO_InitStruct.Speed = GPIO_SPEED_FREQ_LOW;
  GPIO_InitStruct.Alternate = GPIO_AF14_LTDC;
  HAL_GPIO_Init(GPIOK, &GPIO_InitStruct);

  /*Configure GPIO pin : LCD_B4_Pin */
  GPIO_InitStruct.Pin = LCD_B4_Pin;
  GPIO_InitStruct.Mode = GPIO_MODE_AF_PP;
  GPIO_InitStruct.Pull = GPIO_NOPULL;
  GPIO_InitStruct.Speed = GPIO_SPEED_FREQ_LOW;
  GPIO_InitStruct.Alternate = GPIO_AF9_LTDC;
  HAL_GPIO_Init(LCD_B4_GPIO_Port, &GPIO_InitStruct);

  /*Configure GPIO pin : SAI2_SDB_Pin */
  GPIO_InitStruct.Pin = SAI2_SDB_Pin;
  GPIO_InitStruct.Mode = GPIO_MODE_AF_PP;
  GPIO_InitStruct.Pull = GPIO_NOPULL;
  GPIO_InitStruct.Speed = GPIO_SPEED_FREQ_LOW;
  GPIO_InitStruct.Alternate = GPIO_AF10_SAI2;
  HAL_GPIO_Init(SAI2_SDB_GPIO_Port, &GPIO_InitStruct);

  /*Configure GPIO pin : OTG_FS_PowerSwitchOn_Pin */
  GPIO_InitStruct.Pin = OTG_FS_PowerSwitchOn_Pin;
  GPIO_InitStruct.Mode = GPIO_MODE_OUTPUT_PP;
  GPIO_InitStruct.Pull = GPIO_NOPULL;
  GPIO_InitStruct.Speed = GPIO_SPEED_FREQ_LOW;
  HAL_GPIO_Init(OTG_FS_PowerSwitchOn_GPIO_Port, &GPIO_InitStruct);

  /*Configure GPIO pin : DCMI_D5_Pin */
  GPIO_InitStruct.Pin = DCMI_D5_Pin;
  GPIO_InitStruct.Mode = GPIO_MODE_AF_PP;
  GPIO_InitStruct.Pull = GPIO_NOPULL;
  GPIO_InitStruct.Speed = GPIO_SPEED_FREQ_LOW;
  GPIO_InitStruct.Alternate = GPIO_AF13_DCMI;
  HAL_GPIO_Init(DCMI_D5_GPIO_Port, &GPIO_InitStruct);

  /*Configure GPIO pins : ARDUINO_D7_Pin ARDUINO_D8_Pin LCD_DISP_Pin */
  GPIO_InitStruct.Pin = ARDUINO_D7_Pin|ARDUINO_D8_Pin|LCD_DISP_Pin;
  GPIO_InitStruct.Mode = GPIO_MODE_OUTPUT_PP;
  GPIO_InitStruct.Pull = GPIO_NOPULL;
  GPIO_InitStruct.Speed = GPIO_SPEED_FREQ_LOW;
  HAL_GPIO_Init(GPIOI, &GPIO_InitStruct);

  /*Configure GPIO pin : uSD_Detect_Pin */
  GPIO_InitStruct.Pin = uSD_Detect_Pin;
  GPIO_InitStruct.Mode = GPIO_MODE_INPUT;
  GPIO_InitStruct.Pull = GPIO_NOPULL;
  HAL_GPIO_Init(uSD_Detect_GPIO_Port, &GPIO_InitStruct);

  /*Configure GPIO pins : FMC_A0_Pin FMC_A1_Pin FMC_A2_Pin FMC_A3_Pin
                           FMC_A4_Pin FMC_A5_Pin FMC_A6_Pin FMC_A9_Pin
                           FMC_A7_Pin FMC_A8_Pin FMC_SDNRAS_Pin */
  GPIO_InitStruct.Pin = FMC_A0_Pin|FMC_A1_Pin|FMC_A2_Pin|FMC_A3_Pin
                          |FMC_A4_Pin|FMC_A5_Pin|FMC_A6_Pin|FMC_A9_Pin
                          |FMC_A7_Pin|FMC_A8_Pin|FMC_SDNRAS_Pin;
  GPIO_InitStruct.Mode = GPIO_MODE_AF_PP;
  GPIO_InitStruct.Pull = GPIO_NOPULL;
  GPIO_InitStruct.Speed = GPIO_SPEED_FREQ_VERY_HIGH;
  GPIO_InitStruct.Alternate = GPIO_AF12_FMC;
  HAL_GPIO_Init(GPIOF, &GPIO_InitStruct);

  /*Configure GPIO pins : LCD_HSYNC_Pin LCD_VSYNC_Pin LCD_R0_Pin LCD_CLK_Pin */
  GPIO_InitStruct.Pin = LCD_HSYNC_Pin|LCD_VSYNC_Pin|LCD_R0_Pin|LCD_CLK_Pin;
  GPIO_InitStruct.Mode = GPIO_MODE_AF_PP;
  GPIO_InitStruct.Pull = GPIO_NOPULL;
  GPIO_InitStruct.Speed = GPIO_SPEED_FREQ_LOW;
  GPIO_InitStruct.Alternate = GPIO_AF14_LTDC;
  HAL_GPIO_Init(GPIOI, &GPIO_InitStruct);

  /*Configure GPIO pin : LCD_BL_CTRL_Pin */
  GPIO_InitStruct.Pin = LCD_BL_CTRL_Pin;
  GPIO_InitStruct.Mode = GPIO_MODE_OUTPUT_PP;
  GPIO_InitStruct.Pull = GPIO_NOPULL;
  GPIO_InitStruct.Speed = GPIO_SPEED_FREQ_LOW;
  HAL_GPIO_Init(LCD_BL_CTRL_GPIO_Port, &GPIO_InitStruct);

  /*Configure GPIO pin : DCMI_VSYNC_Pin */
  GPIO_InitStruct.Pin = DCMI_VSYNC_Pin;
  GPIO_InitStruct.Mode = GPIO_MODE_AF_PP;
  GPIO_InitStruct.Pull = GPIO_NOPULL;
  GPIO_InitStruct.Speed = GPIO_SPEED_FREQ_LOW;
  GPIO_InitStruct.Alternate = GPIO_AF13_DCMI;
  HAL_GPIO_Init(DCMI_VSYNC_GPIO_Port, &GPIO_InitStruct);

  /*Configure GPIO pin : OTG_FS_OverCurrent_Pin */
  GPIO_InitStruct.Pin = OTG_FS_OverCurrent_Pin;
  GPIO_InitStruct.Mode = GPIO_MODE_INPUT;
  GPIO_InitStruct.Pull = GPIO_NOPULL;
  HAL_GPIO_Init(OTG_FS_OverCurrent_GPIO_Port, &GPIO_InitStruct);

  /*Configure GPIO pin : SDMMC_D0_Pin */
  GPIO_InitStruct.Pin = SDMMC_D0_Pin;
  GPIO_InitStruct.Mode = GPIO_MODE_AF_PP;
  GPIO_InitStruct.Pull = GPIO_NOPULL;
  GPIO_InitStruct.Speed = GPIO_SPEED_FREQ_VERY_HIGH;
  GPIO_InitStruct.Alternate = GPIO_AF12_SDMMC1;
  HAL_GPIO_Init(SDMMC_D0_GPIO_Port, &GPIO_InitStruct);

  /*Configure GPIO pins : TP3_Pin NC2_Pin */
  GPIO_InitStruct.Pin = TP3_Pin|NC2_Pin;
  GPIO_InitStruct.Mode = GPIO_MODE_INPUT;
  GPIO_InitStruct.Pull = GPIO_NOPULL;
  HAL_GPIO_Init(GPIOH, &GPIO_InitStruct);

  /*Configure GPIO pin : ARDUINO_SCK_D13_Pin */
  GPIO_InitStruct.Pin = ARDUINO_SCK_D13_Pin;
  GPIO_InitStruct.Mode = GPIO_MODE_AF_PP;
  GPIO_InitStruct.Pull = GPIO_NOPULL;
  GPIO_InitStruct.Speed = GPIO_SPEED_FREQ_LOW;
  GPIO_InitStruct.Alternate = GPIO_AF5_SPI2;
  HAL_GPIO_Init(ARDUINO_SCK_D13_GPIO_Port, &GPIO_InitStruct);

  /*Configure GPIO pin : DCMI_PWR_EN_Pin */
  GPIO_InitStruct.Pin = DCMI_PWR_EN_Pin;
  GPIO_InitStruct.Mode = GPIO_MODE_OUTPUT_PP;
  GPIO_InitStruct.Pull = GPIO_NOPULL;
  GPIO_InitStruct.Speed = GPIO_SPEED_FREQ_LOW;
  HAL_GPIO_Init(DCMI_PWR_EN_GPIO_Port, &GPIO_InitStruct);

  /*Configure GPIO pins : DCMI_D4_Pin DCMI_D3_Pin DCMI_D0_Pin DCMI_D2_Pin
                           DCMI_D1_Pin */
  GPIO_InitStruct.Pin = DCMI_D4_Pin|DCMI_D3_Pin|DCMI_D0_Pin|DCMI_D2_Pin
                          |DCMI_D1_Pin;
  GPIO_InitStruct.Mode = GPIO_MODE_AF_PP;
  GPIO_InitStruct.Pull = GPIO_NOPULL;
  GPIO_InitStruct.Speed = GPIO_SPEED_FREQ_LOW;
  GPIO_InitStruct.Alternate = GPIO_AF13_DCMI;
  HAL_GPIO_Init(GPIOH, &GPIO_InitStruct);

  /*Configure GPIO pin : ARDUINO_PWM_CS_D5_Pin */
  GPIO_InitStruct.Pin = ARDUINO_PWM_CS_D5_Pin;
  GPIO_InitStruct.Mode = GPIO_MODE_AF_PP;
  GPIO_InitStruct.Pull = GPIO_NOPULL;
  GPIO_InitStruct.Speed = GPIO_SPEED_FREQ_LOW;
  GPIO_InitStruct.Alternate = GPIO_AF2_TIM5;
  HAL_GPIO_Init(ARDUINO_PWM_CS_D5_GPIO_Port, &GPIO_InitStruct);

  /*Configure GPIO pin : VCP_TX_Pin */
  GPIO_InitStruct.Pin = VCP_TX_Pin;
  GPIO_InitStruct.Mode = GPIO_MODE_AF_PP;
  GPIO_InitStruct.Pull = GPIO_NOPULL;
  GPIO_InitStruct.Speed = GPIO_SPEED_FREQ_LOW;
  GPIO_InitStruct.Alternate = GPIO_AF7_USART1;
  HAL_GPIO_Init(VCP_TX_GPIO_Port, &GPIO_InitStruct);

  /*Configure GPIO pin : BTN_Pin */
  GPIO_InitStruct.Pin = BTN_Pin;
  GPIO_InitStruct.Mode = GPIO_MODE_INPUT;
  GPIO_InitStruct.Pull = GPIO_NOPULL;
  HAL_GPIO_Init(BTN_GPIO_Port, &GPIO_InitStruct);

  /*Configure GPIO pin : ARDUINO_PWM_D10_Pin */
  GPIO_InitStruct.Pin = ARDUINO_PWM_D10_Pin;
  GPIO_InitStruct.Mode = GPIO_MODE_AF_PP;
  GPIO_InitStruct.Pull = GPIO_NOPULL;
  GPIO_InitStruct.Speed = GPIO_SPEED_FREQ_LOW;
  GPIO_InitStruct.Alternate = GPIO_AF1_TIM1;
  HAL_GPIO_Init(ARDUINO_PWM_D10_GPIO_Port, &GPIO_InitStruct);

  /*Configure GPIO pin : LCD_INT_Pin */
  GPIO_InitStruct.Pin = LCD_INT_Pin;
  GPIO_InitStruct.Mode = GPIO_MODE_EVT_RISING;
  GPIO_InitStruct.Pull = GPIO_NOPULL;
  HAL_GPIO_Init(LCD_INT_GPIO_Port, &GPIO_InitStruct);

  /*Configure GPIO pins : ARDUINO_RX_D0_Pin ARDUINO_TX_D1_Pin */
  GPIO_InitStruct.Pin = ARDUINO_RX_D0_Pin|ARDUINO_TX_D1_Pin;
  GPIO_InitStruct.Mode = GPIO_MODE_AF_PP;
  GPIO_InitStruct.Pull = GPIO_NOPULL;
  GPIO_InitStruct.Speed = GPIO_SPEED_FREQ_VERY_HIGH;
  GPIO_InitStruct.Alternate = GPIO_AF8_USART6;
  HAL_GPIO_Init(GPIOC, &GPIO_InitStruct);

  /*Configure GPIO pin : ULPI_NXT_Pin */
  GPIO_InitStruct.Pin = ULPI_NXT_Pin;
  GPIO_InitStruct.Mode = GPIO_MODE_AF_PP;
  GPIO_InitStruct.Pull = GPIO_NOPULL;
  GPIO_InitStruct.Speed = GPIO_SPEED_FREQ_VERY_HIGH;
  GPIO_InitStruct.Alternate = GPIO_AF10_OTG_HS;
  HAL_GPIO_Init(ULPI_NXT_GPIO_Port, &GPIO_InitStruct);

  /*Configure GPIO pins : FMC_SDNME_Pin FMC_SDNE0_Pin */
  GPIO_InitStruct.Pin = FMC_SDNME_Pin|FMC_SDNE0_Pin;
  GPIO_InitStruct.Mode = GPIO_MODE_AF_PP;
  GPIO_InitStruct.Pull = GPIO_NOPULL;
  GPIO_InitStruct.Speed = GPIO_SPEED_FREQ_VERY_HIGH;
  GPIO_InitStruct.Alternate = GPIO_AF12_FMC;
  HAL_GPIO_Init(GPIOH, &GPIO_InitStruct);

  /*Configure GPIO pins : ARDUINO_D4_Pin ARDUINO_D2_Pin EXT_RST_Pin */
  GPIO_InitStruct.Pin = ARDUINO_D4_Pin|ARDUINO_D2_Pin|EXT_RST_Pin;
  GPIO_InitStruct.Mode = GPIO_MODE_OUTPUT_PP;
  GPIO_InitStruct.Pull = GPIO_NOPULL;
  GPIO_InitStruct.Speed = GPIO_SPEED_FREQ_LOW;
  HAL_GPIO_Init(GPIOG, &GPIO_InitStruct);

  /*Configure GPIO pins : ARDUINO_A4_Pin ARDUINO_A5_Pin ARDUINO_A1_Pin ARDUINO_A2_Pin
                           ARDUINO_A3_Pin */
  GPIO_InitStruct.Pin = ARDUINO_A4_Pin|ARDUINO_A5_Pin|ARDUINO_A1_Pin|ARDUINO_A2_Pin
                          |ARDUINO_A3_Pin;
  GPIO_InitStruct.Mode = GPIO_MODE_ANALOG;
  GPIO_InitStruct.Pull = GPIO_NOPULL;
  HAL_GPIO_Init(GPIOF, &GPIO_InitStruct);

  /*Configure GPIO pin : FMC_SDCKE0_Pin */
  GPIO_InitStruct.Pin = FMC_SDCKE0_Pin;
  GPIO_InitStruct.Mode = GPIO_MODE_AF_PP;
  GPIO_InitStruct.Pull = GPIO_NOPULL;
  GPIO_InitStruct.Speed = GPIO_SPEED_FREQ_VERY_HIGH;
  GPIO_InitStruct.Alternate = GPIO_AF12_FMC;
  HAL_GPIO_Init(FMC_SDCKE0_GPIO_Port, &GPIO_InitStruct);

  /*Configure GPIO pins : ULPI_STP_Pin ULPI_DIR_Pin */
  GPIO_InitStruct.Pin = ULPI_STP_Pin|ULPI_DIR_Pin;
  GPIO_InitStruct.Mode = GPIO_MODE_AF_PP;
  GPIO_InitStruct.Pull = GPIO_NOPULL;
  GPIO_InitStruct.Speed = GPIO_SPEED_FREQ_VERY_HIGH;
  GPIO_InitStruct.Alternate = GPIO_AF10_OTG_HS;
  HAL_GPIO_Init(GPIOC, &GPIO_InitStruct);

  /*Configure GPIO pins : RMII_MDC_Pin RMII_RXD0_Pin RMII_RXD1_Pin */
  GPIO_InitStruct.Pin = RMII_MDC_Pin|RMII_RXD0_Pin|RMII_RXD1_Pin;
  GPIO_InitStruct.Mode = GPIO_MODE_AF_PP;
  GPIO_InitStruct.Pull = GPIO_NOPULL;
  GPIO_InitStruct.Speed = GPIO_SPEED_FREQ_VERY_HIGH;
  GPIO_InitStruct.Alternate = GPIO_AF11_ETH;
  HAL_GPIO_Init(GPIOC, &GPIO_InitStruct);

  /*Configure GPIO pin : PB2 */
  GPIO_InitStruct.Pin = GPIO_PIN_2;
  GPIO_InitStruct.Mode = GPIO_MODE_AF_PP;
  GPIO_InitStruct.Pull = GPIO_NOPULL;
  GPIO_InitStruct.Speed = GPIO_SPEED_FREQ_VERY_HIGH;
  GPIO_InitStruct.Alternate = GPIO_AF9_QUADSPI;
  HAL_GPIO_Init(GPIOB, &GPIO_InitStruct);

  /*Configure GPIO pins : QSPI_D1_Pin QSPI_D3_Pin QSPI_D0_Pin */
  GPIO_InitStruct.Pin = QSPI_D1_Pin|QSPI_D3_Pin|QSPI_D0_Pin;
  GPIO_InitStruct.Mode = GPIO_MODE_AF_PP;
  GPIO_InitStruct.Pull = GPIO_NOPULL;
  GPIO_InitStruct.Speed = GPIO_SPEED_FREQ_VERY_HIGH;
  GPIO_InitStruct.Alternate = GPIO_AF9_QUADSPI;
  HAL_GPIO_Init(GPIOD, &GPIO_InitStruct);

  /*Configure GPIO pin : RMII_RXER_Pin */
  GPIO_InitStruct.Pin = RMII_RXER_Pin;
  GPIO_InitStruct.Mode = GPIO_MODE_INPUT;
  GPIO_InitStruct.Pull = GPIO_NOPULL;
  HAL_GPIO_Init(RMII_RXER_GPIO_Port, &GPIO_InitStruct);

  /*Configure GPIO pins : RMII_REF_CLK_Pin RMII_MDIO_Pin RMII_CRS_DV_Pin */
  GPIO_InitStruct.Pin = RMII_REF_CLK_Pin|RMII_MDIO_Pin|RMII_CRS_DV_Pin;
  GPIO_InitStruct.Mode = GPIO_MODE_AF_PP;
  GPIO_InitStruct.Pull = GPIO_NOPULL;
  GPIO_InitStruct.Speed = GPIO_SPEED_FREQ_VERY_HIGH;
  GPIO_InitStruct.Alternate = GPIO_AF11_ETH;
  HAL_GPIO_Init(GPIOA, &GPIO_InitStruct);

  /*Configure GPIO pin : ARDUINO_A0_Pin */
  GPIO_InitStruct.Pin = ARDUINO_A0_Pin;
  GPIO_InitStruct.Mode = GPIO_MODE_ANALOG;
  GPIO_InitStruct.Pull = GPIO_NOPULL;
  HAL_GPIO_Init(ARDUINO_A0_GPIO_Port, &GPIO_InitStruct);

  /*Configure GPIO pins : DCMI_HSYNC_Pin PA6 */
  GPIO_InitStruct.Pin = DCMI_HSYNC_Pin|GPIO_PIN_6;
  GPIO_InitStruct.Mode = GPIO_MODE_AF_PP;
  GPIO_InitStruct.Pull = GPIO_NOPULL;
  GPIO_InitStruct.Speed = GPIO_SPEED_FREQ_LOW;
  GPIO_InitStruct.Alternate = GPIO_AF13_DCMI;
  HAL_GPIO_Init(GPIOA, &GPIO_InitStruct);

  /*Configure GPIO pins : LCD_SCL_Pin LCD_SDA_Pin */
  GPIO_InitStruct.Pin = LCD_SCL_Pin|LCD_SDA_Pin;
  GPIO_InitStruct.Mode = GPIO_MODE_AF_OD;
  GPIO_InitStruct.Pull = GPIO_NOPULL;
  GPIO_InitStruct.Speed = GPIO_SPEED_FREQ_VERY_HIGH;
  GPIO_InitStruct.Alternate = GPIO_AF4_I2C3;
  HAL_GPIO_Init(GPIOH, &GPIO_InitStruct);

  /*Configure GPIO pins : ULPI_CLK_Pin ULPI_D0_Pin */
  GPIO_InitStruct.Pin = ULPI_CLK_Pin|ULPI_D0_Pin;
  GPIO_InitStruct.Mode = GPIO_MODE_AF_PP;
  GPIO_InitStruct.Pull = GPIO_NOPULL;
  GPIO_InitStruct.Speed = GPIO_SPEED_FREQ_VERY_HIGH;
  GPIO_InitStruct.Alternate = GPIO_AF10_OTG_HS;
  HAL_GPIO_Init(GPIOA, &GPIO_InitStruct);

  /*Configure GPIO pin : ARDUINO_PWM_D6_Pin */
  GPIO_InitStruct.Pin = ARDUINO_PWM_D6_Pin;
  GPIO_InitStruct.Mode = GPIO_MODE_AF_PP;
  GPIO_InitStruct.Pull = GPIO_NOPULL;
  GPIO_InitStruct.Speed = GPIO_SPEED_FREQ_LOW;
  GPIO_InitStruct.Alternate = GPIO_AF9_TIM12;
  HAL_GPIO_Init(ARDUINO_PWM_D6_GPIO_Port, &GPIO_InitStruct);

  /*Configure GPIO pin : ARDUINO_MOSI_PWM_D11_Pin */
  GPIO_InitStruct.Pin = ARDUINO_MOSI_PWM_D11_Pin;
  GPIO_InitStruct.Mode = GPIO_MODE_AF_PP;
  GPIO_InitStruct.Pull = GPIO_NOPULL;
  GPIO_InitStruct.Speed = GPIO_SPEED_FREQ_LOW;
  GPIO_InitStruct.Alternate = GPIO_AF5_SPI2;
  HAL_GPIO_Init(ARDUINO_MOSI_PWM_D11_GPIO_Port, &GPIO_InitStruct);

}

/* USER CODE BEGIN 4 */
static void led_green_handler (void* parameters)
{
	//variable hold last wakeup time
//	TickType_t last_wakeup_time;

	//store the last wakeup time, only run for the first time
//	last_wakeup_time = xTaskGetTickCount();

	BaseType_t status;

	while(1)
	{
		SEGGER_SYSVIEW_PrintfTarget("Toggling Green Led");
		HAL_GPIO_TogglePin(GPIOB, LED_GREEN_PIN);

		status = xTaskNotifyWait(0,0,NULL, pdMS_TO_TICKS(1000));
		if(status == pdTRUE)
		{
			vTaskSuspendAll();
			next_task_handle = ledR_task_handle;
			xTaskResumeAll();
			HAL_GPIO_WritePin(GPIOB, LED_GREEN_PIN, GPIO_PIN_SET);
			SEGGER_SYSVIEW_PrintfTarget("Delete GREEN LED");
			vTaskDelete(NULL);
		}

		//Blocking delay function, which consume the CPU resources
//		HAL_Delay(1000);

		//non blocking delay using freertos API, but not gaurantee the exact period wake time
//		vTaskDelay(pdMS_TO_TICKS(1000));

		/*
		 * non blocking delay using freertos API, gaurantee the exact period wake time
		 * using last wakeup time and number of ticks to next wakeup time
		 * the last wakeup time variable will be updated by freertos API
		 */
//		vTaskDelayUntil(&last_wakeup_time, pdMS_TO_TICKS(1000));
	}
}

static void led_red_handler (void* parameters)
{
	//variable hold last wakeup time
//	TickType_t last_wakeup_time;

	//store the last wakeup time, only run for the first time
//	last_wakeup_time = xTaskGetTickCount();

	BaseType_t status;

	while(1)
	{
		SEGGER_SYSVIEW_PrintfTarget("Toggling Red Led");
		HAL_GPIO_TogglePin(GPIOB, LED_RED_PIN);

		status = xTaskNotifyWait(0,0,NULL, pdMS_TO_TICKS(800));
		if(status == pdTRUE)
		{
			vTaskSuspendAll();
			next_task_handle = ledB_task_handle;
			xTaskResumeAll();;
			HAL_GPIO_WritePin(GPIOB, LED_RED_PIN, GPIO_PIN_SET);
			SEGGER_SYSVIEW_PrintfTarget("Delete RED LED");
			vTaskDelete(NULL);
		}
		//Blocking delay function, which consume the CPU resources
//		HAL_Delay(800);

		//non blocking delay using freertos API, but not gaurantee the exact period wake time
//		vTaskDelay(pdMS_TO_TICKS(800));

		/*
		* non blocking delay using freertos API, gaurantee the exact period wake time
		* using last wakeup time and number of ticks to next wakeup time
		* the last wakeup time variable will be updated by freertos API
		*/
//		vTaskDelayUntil(&last_wakeup_time, pdMS_TO_TICKS(800));
	}
}

static void led_blue_handler (void* parameters)
{
	//variable hold last wakeup time
//	TickType_t last_wakeup_time;

	//store the last wakeup time, only run for the first time
//	last_wakeup_time = xTaskGetTickCount();

	BaseType_t status;

	while(1)
	{
		SEGGER_SYSVIEW_PrintfTarget("Toggling Blue Led");
		HAL_GPIO_TogglePin(GPIOB, LED_BLUE_PIN);

		status = xTaskNotifyWait(0,0,NULL, pdMS_TO_TICKS(400));
		if(status == pdTRUE)
		{
			vTaskSuspendAll();
			next_task_handle = NULL;
			xTaskResumeAll();
			HAL_GPIO_WritePin(GPIOB, LED_BLUE_PIN, GPIO_PIN_SET);
			SEGGER_SYSVIEW_PrintfTarget("Delete BLUE LED");
			vTaskDelete(NULL);
			vTaskDelete(btn_task_handle);
		}
		//Blocking delay function, which consume the CPU resources
//		HAL_Delay(400);

		//non blocking delay using freertos API, but not gaurantee the exact period wake time
//		vTaskDelay(pdMS_TO_TICKS(400));

		/*
		* non blocking delay using freertos API, gaurantee the exact period wake time
		* using last wakeup time and number of ticks to next wakeup time
		* the last wakeup time variable will be updated by freertos API
		*/
//		vTaskDelayUntil(&last_wakeup_time, pdMS_TO_TICKS(400));
	}
}

static void button_handler (void* parameters)
{
	uint8_t btn_read = 0;
	uint8_t prev_read = 0;

	while(1)
	{
		btn_read = HAL_GPIO_ReadPin(GPIOI, GPIO_PIN_11);

		if(btn_read)
		{
			if(! prev_read)
			{
				xTaskNotify(next_task_handle, 0 ,eNoAction);
			}
		}
		prev_read = btn_read;
		vTaskDelay(pdMS_TO_TICKS(10));

		SEGGER_SYSVIEW_PrintfTarget("Button Task");
	}
}
/* USER CODE END 4 */

void HAL_TIM_PeriodElapsedCallback(TIM_HandleTypeDef *htim)
{
  if (htim->Instance == TIM6) {
    HAL_IncTick();
  }
}

void Error_Handler(void)
{
  __disable_irq();
  while (1)
  {
  }
}
